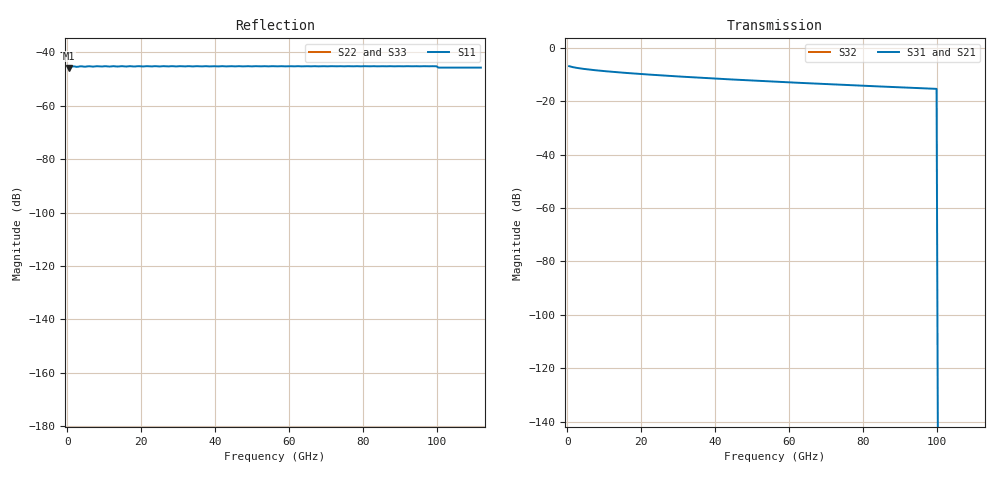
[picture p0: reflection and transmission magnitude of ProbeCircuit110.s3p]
! File created by SignalIntegrity v1.2.1: Signal and Power Integrity Tools
! https://github.com/TeledyneLeCroy/SignalIntegrity
# MHz S MA R 50.0
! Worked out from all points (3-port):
!   224 points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, 500 MHz to 112 GHz, reference 50 ohm
!   strongest paths, dB at 500 MHz, 28.5 GHz, 56.5 GHz, 84.5 GHz, 112 GHz:
!     S31: -6.9, -10.6, -12.7, -14.5, -
!     S21: -6.9, -10.6, -12.7, -14.5, -
!     S32: -, -, -, -, -
!   lowest |S11| = -45.8 dB at 500 MHz (marker M1), VSWR 1.01, Z = 50.5 + j0.0135 ohm
!   |S11| at or under -10 dB: start of sweep to end of sweep
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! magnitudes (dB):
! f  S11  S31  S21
! 500 MHz  -45.8  -6.9  -6.9
! 1.5 GHz  -45.2  -7.2  -7.2
! 2.5 GHz  -45.4  -7.5  -7.5
! 3.5 GHz  -45.2  -7.7  -7.7
! 7 GHz  -45.3  -8.3  -8.3
! 17 GHz  -45.2  -9.5  -9.5
! 56.5 GHz  -45.2  -12.7  -12.7
! 100 GHz  -45.2  -15.4  -15.4
! 100.5 GHz  -45.7  -  -
! 112 GHz  -45.7  -  -
